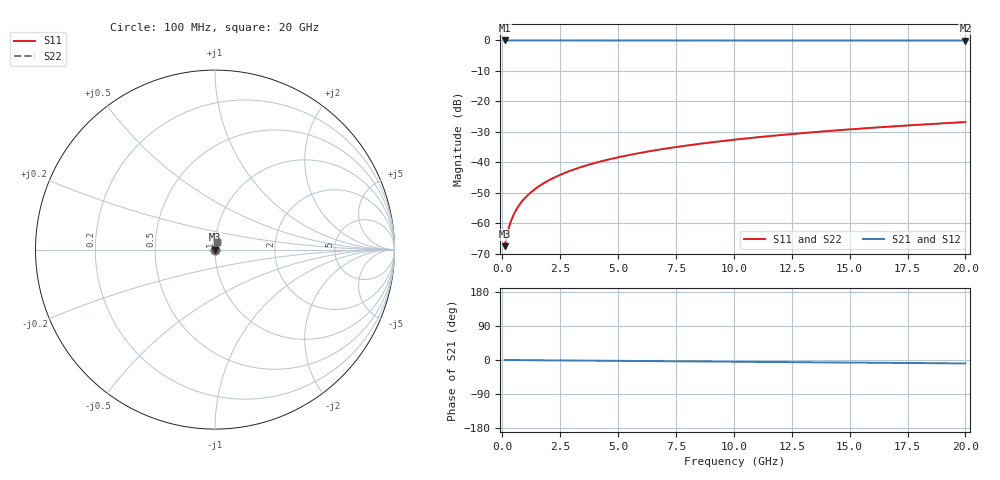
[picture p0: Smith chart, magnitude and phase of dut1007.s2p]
! Touchstone file exported from HFSS 2026.1.0
!  File:  C:/ffzhzh/LocalFiles/Ansys_Project_Files/temp_train_TSV_1007_1783188554_43440.aedt
!  Generated:  02:10:57 AM Jul  5, 2026
!  Design:  TSV
!  Project:  temp_train_TSV_1007_1783188554_43440
! Variables:
!  h_bsmrdl = 2um
!  h_ox = 20um
!  h_rdl = 5um
!  h_sub = 88.41um
!  h_tmrdl = 5um
!  h_tsv = 88.41um
!  h_via = 3um
!  l_bsmrdl = 300um
!  l_sub = 411.92um
!  l_tmrdl = 200um
!  m_sub = 200um
!  pitch = 36.47um
!  r_tsv = 5.96um
!  s_tmrdl = 10um
!  w_bsmrdl = 18um
!  w_sub = 500um
!  w_tmrdl = 12um
!  x_tsv_center1 = 206um
!  x_tsv_center2 = 524um
!  x_tsv_center3 = 736um
!  x_tsv_center4 = 1054um
!  x_tsv_center5 = 1266um
!  x_tsv_center6 = 1584um
# GHz S MA R 50.000000
! Terminal data exported
! Port[1] = TSV1_1_T1
! Port[2] = TSV1_1_T2
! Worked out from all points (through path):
!   200 points, 100 MHz to 20 GHz, reference 50 ohm
!   highest |S21| = 0.00 dB at 100 MHz (marker M1); lowest = 0.0 dB at 20 GHz (marker M2)
!   group delay of S21, straight-line fit = 1.25 ps
!   lowest |S11| = -67.4 dB at 100 MHz (marker M3), VSWR 1.00, Z = 50 + j0.0279 ohm
!   |S11| at or under -10 dB: start of sweep to end of sweep
!   |S22| runs from -67.4 to -26.8 dB; largest |S21 - S12| = 3e-15
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0.1  0.0004245 41.1  0.9997 -0.0  0.9997 -0.0  0.0004245 41.1
! Gamma 0 0 0 0
! Port Impedance 50 0 50 0
0.2  0.0006474 59.2  0.9997 -0.1  0.9997 -0.1  0.0006474 59.2
0.3  0.0008996 67.2  0.9997 -0.1  0.9997 -0.1  0.0008996 67.2
0.4  0.001158 71.3  0.9996 -0.2  0.9996 -0.2  0.001158 71.3
0.5  0.001416 73.7  0.9996 -0.2  0.9996 -0.2  0.001416 73.7
0.6  0.001671 75.4  0.9996 -0.3  0.9996 -0.3  0.001671 75.4
0.7  0.001924 76.5  0.9996 -0.3  0.9996 -0.3  0.001924 76.5
0.8  0.002173 77.4  0.9995 -0.4  0.9995 -0.4  0.002173 77.4
1  0.002665 78.7  0.9995 -0.5  0.9995 -0.5  0.002665 78.7
1.4  0.003634 80.3  0.9994 -0.7  0.9994 -0.7  0.003634 80.3
1.7  0.004355 81.0  0.9994 -0.8  0.9994 -0.8  0.004355 81.0
2  0.005074 81.6  0.9993 -0.9  0.9993 -0.9  0.005074 81.6
2.7  0.006742 82.4  0.9992 -1.2  0.9992 -1.2  0.006742 82.4
3.5  0.008633 82.7  0.9991 -1.6  0.9991 -1.6  0.008633 82.7
4.2  0.01027 82.8  0.999 -1.9  0.999 -1.9  0.01027 82.8
5  0.01213 82.8  0.9989 -2.3  0.9989 -2.3  0.01213 82.8
6.8  0.01627 82.6  0.9987 -3.1  0.9987 -3.1  0.01627 82.6
8.3  0.0197 82.3  0.9985 -3.8  0.9985 -3.8  0.0197 82.3
10.1  0.02378 81.9  0.9982 -4.6  0.9982 -4.6  0.02378 81.9
13.4  0.03124 80.8  0.9978 -6.1  0.9978 -6.1  0.03124 80.8
16.7  0.03863 79.7  0.9974 -7.6  0.9974 -7.6  0.03863 79.7
20  0.04595 78.4  0.9969 -9.0  0.9969 -9.0  0.04595 78.4
